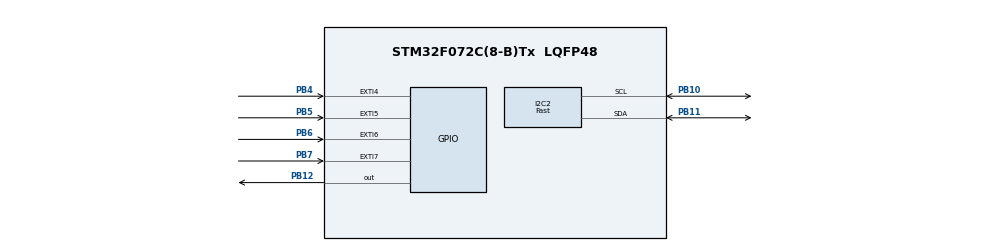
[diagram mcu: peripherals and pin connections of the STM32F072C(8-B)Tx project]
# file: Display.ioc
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I2C2.I2C_Speed_Mode=I2C_Fast
I2C2.Timing=0x0000020B
Mcu.Family=STM32F0
Mcu.Name=STM32F072C(8-B)Tx
Mcu.Package=LQFP48
NVIC.EXTI4_15_IRQn=true\:0\:0\:false\:false\:true\:true\:true\:true
NVIC.I2C2_IRQn=true\:0\:0\:false\:false\:true\:true\:true\:true
PB10.Mode=I2C
PB10.Signal=I2C2_SCL
PB11.Mode=I2C
PB11.Signal=I2C2_SDA
PB12.Signal=GPIO_Output
PB4.GPIO_ModeDefaultEXTI=GPIO_MODE_IT_FALLING
PB4.GPIO_PuPd=GPIO_PULLUP
PB4.Signal=GPXTI4
PB5.GPIO_ModeDefaultEXTI=GPIO_MODE_IT_FALLING
PB5.GPIO_PuPd=GPIO_PULLUP
PB5.Signal=GPXTI5
PB6.GPIO_ModeDefaultEXTI=GPIO_MODE_IT_FALLING
PB6.GPIO_PuPd=GPIO_PULLUP
PB6.Signal=GPXTI6
PB7.GPIO_ModeDefaultEXTI=GPIO_MODE_IT_FALLING
PB7.GPIO_PuPd=GPIO_PULLUP
PB7.Signal=GPXTI7
PF0-OSC_IN.Mode=HSE-External-Clock-Source
PF0-OSC_IN.Signal=RCC_OSC_IN
ProjectManager.HeapSize=0x200
ProjectManager.StackSize=0x400
ProjectManager.TargetToolchain=EWARM V8.32
board=custom

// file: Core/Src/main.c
/* USER CODE BEGIN Header */
/**
  ******************************************************************************
  * @file           : main.c
  * @brief          : Main program body
  ******************************************************************************
  * @attention
  *
  * Copyright (c) 2025 STMicroelectronics.
  * All rights reserved.
  *
  * This software is licensed under terms that can be found in the LICENSE file
  * in the root directory of this software component.
  * If no LICENSE file comes with this software, it is provided AS-IS.
  *
  ******************************************************************************
  */
/* USER CODE END Header */
#include "main.h"

/* USER CODE BEGIN Includes */
#include "MySH1106.h"
#include "tree.h"
#include "fonts.h"
/* USER CODE END Includes */

I2C_HandleTypeDef hi2c2;

void SystemClock_Config(void);
static void MX_GPIO_Init(void);
static void MX_I2C2_Init(void);

/* USER CODE BEGIN 0 */
typedef struct
{
  uint8_t button1;
  uint8_t button2;

} StateButtons;

StateButtons state_button;

typedef enum {
    SCREEN_HELLO_TEXT,
    SCREEN_ROSE,
    SCREEN_ROSE2,
    SCREEN_TREE,
    SCREEN_MOPS
} Screen_t;

Screen_t current_screen = SCREEN_HELLO_TEXT;

void DisplayCurrentScreen() {
    SH1106_Clear();

    switch(current_screen) {
        case SCREEN_HELLO_TEXT:
            SH1106.CurrentX = 0;
            SH1106.CurrentY = 0;
            SH1106_Puts("  Welcome!", &Font_7x10, SH1106_COLOR_WHITE);
            SH1106_UpdateScreen(SH1106_Buffer);
            break;

        case SCREEN_ROSE:
            Convert_Bitmap_To_Pages(rose_map, image_buffer, SH1106_WIDTH, SH1106_HEIGHT);
            SH1106_Display_Image();
            break;

        case SCREEN_ROSE2:
            Convert_Bitmap_To_Pages(rose2_map, image_buffer, SH1106_WIDTH, SH1106_HEIGHT);
            SH1106_Display_Image();
            break;

        case SCREEN_TREE:
            Convert_Bitmap_To_Pages(tree_map, image_buffer, SH1106_WIDTH, SH1106_HEIGHT);
            SH1106_Display_Image();
            break;

        case SCREEN_MOPS:
            Convert_Bitmap_To_Pages(mops_map, image_buffer, SH1106_WIDTH, SH1106_HEIGHT);
            SH1106_Display_Image();
            break;
    }
}
/* USER CODE END 0 */

int main(void)
{

  /* MCU Configuration--------------------------------------------------------*/

  /* Reset of all peripherals, Initializes the Flash interface and the Systick. */
  HAL_Init();

  /* Configure the system clock */
  SystemClock_Config();

  /* Initialize all configured peripherals */
  MX_GPIO_Init();
  MX_I2C2_Init();
  /* USER CODE BEGIN 2 */

  HAL_GPIO_WritePin(GPIOB, GPIO_PIN_12, GPIO_PIN_RESET);

  state_button.button1 = 0;
  state_button.button2 = 0;

  SH1106_Init();

  SH1106_Clear();

  DisplayCurrentScreen();

  /* USER CODE END 2 */

  /* Infinite loop */
  /* USER CODE BEGIN WHILE */

  uint8_t last_button_state = 0;
  uint8_t screen_count = 5;

  while (1)
  {
    /* USER CODE END WHILE */

    /* USER CODE BEGIN 3 */

      if (state_button.button1 == 1) {

          current_screen++;
          if ((uint8_t)current_screen >= screen_count) current_screen = 0;

          DisplayCurrentScreen();

          state_button.button1 = 0;
      }

  }
  /* USER CODE END 3 */
}

void SystemClock_Config(void)
{
  RCC_OscInitTypeDef RCC_OscInitStruct = {0};
  RCC_ClkInitTypeDef RCC_ClkInitStruct = {0};

  /** Initializes the RCC Oscillators according to the specified parameters
  * in the RCC_OscInitTypeDef structure.
  */
  RCC_OscInitStruct.OscillatorType = RCC_OSCILLATORTYPE_HSI;
  RCC_OscInitStruct.HSIState = RCC_HSI_ON;
  RCC_OscInitStruct.HSICalibrationValue = RCC_HSICALIBRATION_DEFAULT;
  RCC_OscInitStruct.PLL.PLLState = RCC_PLL_NONE;
  if (HAL_RCC_OscConfig(&RCC_OscInitStruct) != HAL_OK)
  {
    Error_Handler();
  }

  /** Initializes the CPU, AHB and APB buses clocks
  */
  RCC_ClkInitStruct.ClockType = RCC_CLOCKTYPE_HCLK|RCC_CLOCKTYPE_SYSCLK
                              |RCC_CLOCKTYPE_PCLK1;
  RCC_ClkInitStruct.SYSCLKSource = RCC_SYSCLKSOURCE_HSI;
  RCC_ClkInitStruct.AHBCLKDivider = RCC_SYSCLK_DIV1;
  RCC_ClkInitStruct.APB1CLKDivider = RCC_HCLK_DIV1;

  if (HAL_RCC_ClockConfig(&RCC_ClkInitStruct, FLASH_LATENCY_0) != HAL_OK)
  {
    Error_Handler();
  }
}

static void MX_I2C2_Init(void)
{

  hi2c2.Instance = I2C2;
  hi2c2.Init.Timing = 0x0000020B;
  hi2c2.Init.OwnAddress1 = 0;
  hi2c2.Init.AddressingMode = I2C_ADDRESSINGMODE_7BIT;
  hi2c2.Init.DualAddressMode = I2C_DUALADDRESS_DISABLE;
  hi2c2.Init.OwnAddress2 = 0;
  hi2c2.Init.OwnAddress2Masks = I2C_OA2_NOMASK;
  hi2c2.Init.GeneralCallMode = I2C_GENERALCALL_DISABLE;
  hi2c2.Init.NoStretchMode = I2C_NOSTRETCH_DISABLE;
  if (HAL_I2C_Init(&hi2c2) != HAL_OK)
  {
    Error_Handler();
  }

  /** Configure Analogue filter
  */
  if (HAL_I2CEx_ConfigAnalogFilter(&hi2c2, I2C_ANALOGFILTER_ENABLE) != HAL_OK)
  {
    Error_Handler();
  }

  /** Configure Digital filter
  */
  if (HAL_I2CEx_ConfigDigitalFilter(&hi2c2, 0) != HAL_OK)
  {
    Error_Handler();
  }

}

static void MX_GPIO_Init(void)
{
  GPIO_InitTypeDef GPIO_InitStruct = {0};

  /* GPIO Ports Clock Enable */
  __HAL_RCC_GPIOF_CLK_ENABLE();
  __HAL_RCC_GPIOB_CLK_ENABLE();

  /*Configure GPIO pin Output Level */
  HAL_GPIO_WritePin(GPIOB, GPIO_PIN_12, GPIO_PIN_RESET);

  /*Configure GPIO pin : PB12 */
  GPIO_InitStruct.Pin = GPIO_PIN_12;
  GPIO_InitStruct.Mode = GPIO_MODE_OUTPUT_PP;
  GPIO_InitStruct.Pull = GPIO_NOPULL;
  GPIO_InitStruct.Speed = GPIO_SPEED_FREQ_LOW;
  HAL_GPIO_Init(GPIOB, &GPIO_InitStruct);

  /*Configure GPIO pins : PB4 PB5 PB6 PB7 */
  GPIO_InitStruct.Pin = GPIO_PIN_4|GPIO_PIN_5|GPIO_PIN_6|GPIO_PIN_7;
  GPIO_InitStruct.Mode = GPIO_MODE_IT_FALLING;
  GPIO_InitStruct.Pull = GPIO_PULLUP;
  HAL_GPIO_Init(GPIOB, &GPIO_InitStruct);

  /* EXTI interrupt init*/
  HAL_NVIC_SetPriority(EXTI4_15_IRQn, 0, 0);
  HAL_NVIC_EnableIRQ(EXTI4_15_IRQn);

}

void Error_Handler(void)
{
  __disable_irq();
  while (1)
  {
  }
}
